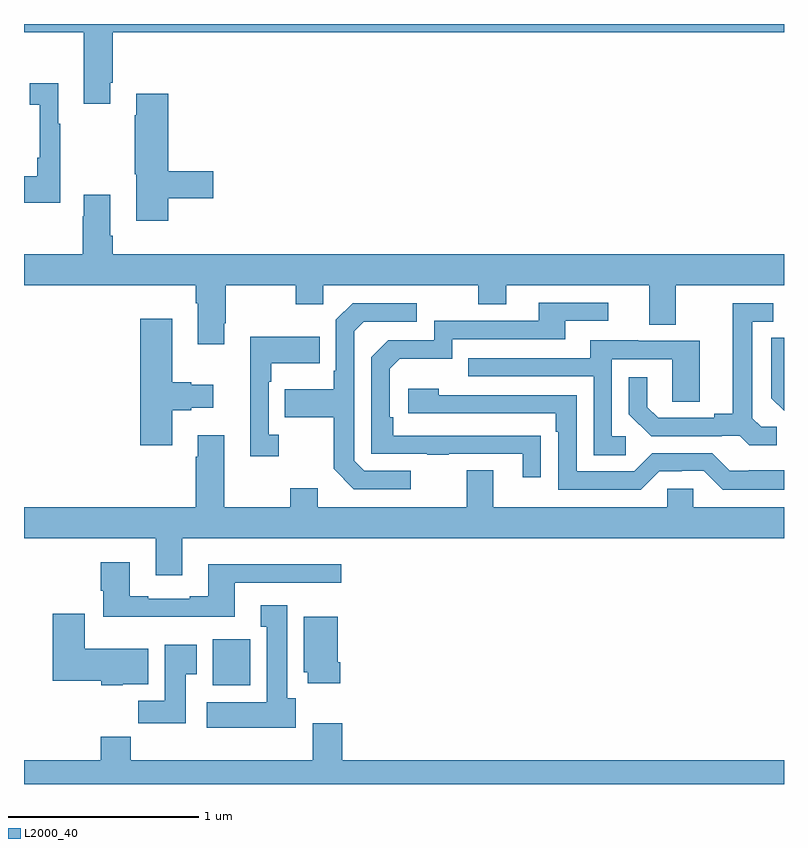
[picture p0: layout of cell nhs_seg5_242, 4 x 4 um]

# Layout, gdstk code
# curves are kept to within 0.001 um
import gdstk
lib = gdstk.Library(unit=1e-6, precision=1e-09)
def R(c, l, rs):  # rectangles x0, y0, x1, y1
    for r in rs: c.add(gdstk.rectangle(r[:2], r[2:], *l))
def P(c, l, *ps):  # polygons
    for p in ps: c.add(gdstk.Polygon(p, *l))
L2000_40 = (2000, 40)

nhs_seg5_242 = lib.new_cell('nhs_seg5_242')
R(nhs_seg5_242, L2000_40, [(125.993,857.318,126.19,857.56)])
P(nhs_seg5_242, L2000_40, [(129,860.799),(125,860.799),(125,860.756),(125.315,860.756),(125.315,860.379),(125.455,860.379),(125.455,860.491),(125.468,860.491),(125.468,860.756),(129,860.756)],
  [(125.191,860.275),(125.179,860.275),(125.179,860.488),(125.031,860.488),(125.031,860.375),(125.082,860.375),(125.082,860.095),(125.07,860.095),(125.07,859.999),(125,859.999),(125,859.859),(125.191,859.859)],
  [(125.759,859.882),(125.995,859.882),(125.995,860.024),(125.759,860.024),(125.759,860.431),(125.591,860.431),(125.591,860.318),(125.584,860.318),(125.584,860.007),(125.591,860.007),(125.591,859.764),(125.759,859.764)],
  [(125.468,859.684),(125.455,859.684),(125.455,859.9),(125.315,859.9),(125.315,859.787),(125.308,859.787),(125.308,859.588),(125,859.588),(125,859.424),(125.903,859.424),(125.903,859.328),(125.915,859.328),(125.915,859.113),(126.055,859.113),(126.055,859.225),(126.063,859.225),(126.063,859.424),(126.43,859.424),(126.43,859.325),(126.576,859.325),(126.576,859.424),(127.39,859.424),(127.39,859.325),(127.537,859.325),(127.537,859.424),(128.291,859.424),(128.291,859.216),(128.431,859.216),(128.431,859.424),(129,859.424),(129,859.588),(125.468,859.588)],
  [(127.721,858.632),(126.944,858.633),(126.944,858.73),(126.924,858.73),(126.924,858.984),(126.977,859.037),(127.254,859.037),(127.254,859.14),(127.849,859.14),(127.849,859.236),(128.074,859.236),(128.074,859.332),(127.709,859.332),(127.709,859.236),(127.158,859.236),(127.158,859.134),(126.918,859.134),(126.828,859.044),(126.828,858.537),(127.123,858.537),(127.123,858.532),(127.235,858.532),(127.235,858.537),(127.625,858.537),(127.625,858.414),(127.721,858.414)],
  [(127.036,858.447),(126.792,858.447),(126.738,858.501),(126.738,859.182),(126.789,859.233),(127.066,859.233),(127.066,859.329),(126.729,859.329),(126.642,859.242),(126.642,858.973),(126.63,858.973),(126.63,858.877),(126.373,858.877),(126.373,858.73),(126.63,858.73),(126.63,858.457),(126.735,858.351),(127.036,858.351)],
  [(128.962,858.678),(128.88,858.678),(128.833,858.725),(128.833,859.233),(128.944,859.233),(128.944,859.329),(128.729,859.329),(128.729,858.749),(128.633,858.749),(128.633,858.726),(128.338,858.726),(128.281,858.783),(128.281,858.94),(128.184,858.94),(128.184,858.746),(128.3,858.63),(128.672,858.63),(128.672,858.633),(128.766,858.633),(128.818,858.581),(128.962,858.581)],
  [(125.779,858.767),(125.879,858.767),(125.879,858.779),(125.995,858.779),(125.995,858.901),(125.879,858.901),(125.879,858.914),(125.779,858.914),(125.779,859.249),(125.612,859.249),(125.612,858.582),(125.779,858.582)],
  [(126.34,858.638),(126.288,858.638),(126.288,858.917),(126.301,858.917),(126.301,859.013),(126.557,859.013),(126.557,859.153),(126.191,859.153),(126.191,858.525),(126.34,858.525)],
  [(129,859.148),(128.934,859.148),(128.934,858.83),(129,858.764)],
  [(128.167,858.63),(128.094,858.63),(128.094,859.035),(128.412,859.035),(128.412,858.811),(128.557,858.811),(128.557,859.131),(128.233,859.131),(128.233,859.135),(127.979,859.135),(127.979,859.041),(127.339,859.041),(127.339,858.945),(127.998,858.945),(127.998,858.529),(128.167,858.529)],
  [(129,858.451),(128.815,858.451),(128.815,858.447),(128.715,858.447),(128.622,858.54),(128.307,858.54),(128.211,858.444),(127.908,858.444),(127.908,858.846),(127.184,858.846),(127.184,858.88),(127.023,858.88),(127.023,858.75),(127.799,858.75),(127.799,858.653),(127.812,858.653),(127.812,858.348),(128.247,858.348),(128.343,858.444),(128.462,858.444),(128.462,858.447),(128.577,858.447),(128.677,858.347),(129,858.347)],
  [(125.833,858.092),(129,858.092),(129,858.256),(128.523,858.256),(128.523,858.354),(128.385,858.354),(128.385,858.256),(127.471,858.256),(127.471,858.451),(127.331,858.451),(127.331,858.256),(126.547,858.256),(126.547,858.355),(126.4,858.355),(126.4,858.256),(126.055,858.256),(126.055,858.634),(125.915,858.634),(125.915,858.521),(125.903,858.521),(125.903,858.256),(125,858.256),(125,858.092),(125.693,858.092),(125.693,857.898),(125.833,857.898)],
  [(126.109,857.859),(126.67,857.859),(126.67,857.956),(125.969,857.956),(125.969,857.788),(125.873,857.788),(125.873,857.775),(125.653,857.775),(125.653,857.788),(125.557,857.788),(125.557,857.965),(125.405,857.965),(125.405,857.817),(125.417,857.817),(125.417,857.678),(126.109,857.678)],
  [(126.43,857.25),(126.385,857.25),(126.385,857.74),(126.245,857.74),(126.245,857.627),(126.278,857.627),(126.278,857.23),(125.961,857.23),(125.961,857.096),(126.43,857.096)],
  [(125.52,857.324),(125.653,857.324),(125.653,857.512),(125.32,857.512),(125.32,857.695),(125.15,857.695),(125.15,857.342),(125.406,857.342),(125.406,857.318),(125.52,857.318)],
  [(126.665,857.44),(126.652,857.44),(126.652,857.68),(126.473,857.68),(126.473,857.388),(126.494,857.388),(126.494,857.328),(126.665,857.328)],
  [(125.851,857.377),(125.908,857.377),(125.908,857.533),(125.741,857.533),(125.741,857.236),(125.602,857.236),(125.602,857.118),(125.851,857.118)],
  [(125.561,857.048),(125.405,857.048),(125.405,856.924),(125,856.924),(125,856.799),(129,856.799),(129,856.924),(126.674,856.924),(126.674,857.119),(126.521,857.119),(126.521,856.924),(125.561,856.924)])

lib.write_gds('nhs_seg5_242.gds')
